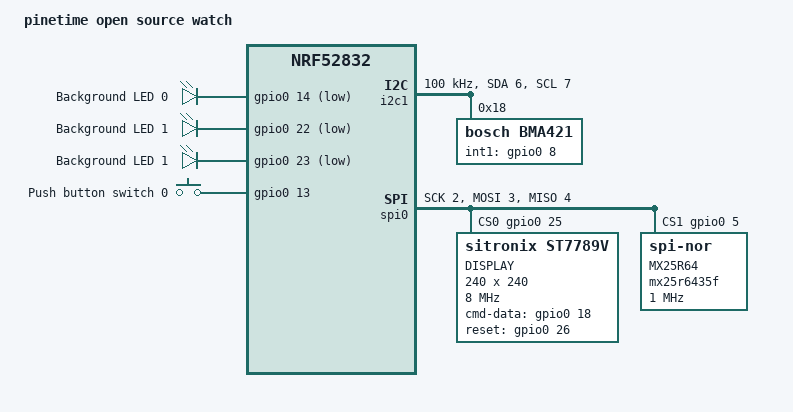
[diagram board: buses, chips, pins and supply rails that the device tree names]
/*
 * Copyright (c) 2018 Zelin <zelin@makerdiary.com>
 * Copyright (c) 2018 makerdiary.com.
 *
 * SPDX-License-Identifier: Apache-2.0

PO.23 LCD backlight 
#include <nordic/nrf52832_qfaa.dtsi>

 */

/dts-v1/;
#include <nordic/nrf52832_qfaa.dtsi>

/ {
	model = "pinetime open source watch";
	compatible = "nordic,nrf52832-qfaa",
		     "nordic,nrf52832";

	chosen {
		zephyr,sram = &sram0;
		zephyr,flash = &flash0;
		zephyr,code-partition = &slot0_partition;
	};

	leds {
		compatible = "gpio-leds";
		led0_green: led_0 {
			gpios = <&gpio0 14 GPIO_INT_ACTIVE_LOW>;
			label = "Background LED 0";
		};
		led1_red: led_1 {
			gpios = <&gpio0 22 GPIO_INT_ACTIVE_LOW>;
			label = "Background LED 1";
		};
		led2_blue: led_2 {
			gpios = <&gpio0 23 GPIO_INT_ACTIVE_LOW>;
			label = "Background LED 1";
		};
	};

	buttons {
		compatible = "gpio-keys";
		button0: button_0 {
			gpios = <&gpio0 13 0>;
			label = "Push button switch 0";
		};
	};

	/* These aliases are provided for compatibility with samples */
	aliases {
		sw0 = &button0;
		led0 = &led0_green;
		led1 = &led1_red;
		led2 = &led2_blue;
		led0-green = &led0_green;
		led1-red   = &led1_red;
		led2-blue  = &led2_blue;
	};

};

&gpiote {
	status = "okay";
};

&gpio0 {
	status = "okay";
};
/*
&i2c0 {
	status = "okay";
      }
*/
&i2c1 {
        compatible = "nordic,nrf-twi"; 
	status = "okay";
	sda-pin = <6>;
	scl-pin = <7>;
        clock-frequency = <100000>; 
        bma421@18 {
            compatible = "bosch,bma421"; 
            reg=<0x18>;
            label="BMA421";
            int1-gpios = <&gpio0 8 0>; 
        };
};


&spi0 {
        compatible = "nordic,nrf-spi"; 
	status = "okay";
        sck-pin = <2>;
        mosi-pin = <3>;
        miso-pin = <4>;
	cs-gpios = <&gpio0 25 0>,<&gpio0 5 0>;
	st7789v@0 {
		compatible = "sitronix,st7789v";
		label = "DISPLAY";
		spi-max-frequency = <8000000>;
		reg = <0>;
		cmd-data-gpios = <&gpio0 18 0>;
		reset-gpios = <&gpio0 26 0>;
		width = <240>;
		height = <240>;
		x-offset = <0>;
		y-offset = <0>;
                vcom = <0x19>;
		gctrl = <0x35>;
		vrhs = <0x12>;
		vdvs = <0x20>;
		mdac = <0x00>;
		gamma = <0x01>;
		colmod = <0x05>;
		lcm = <0x2c>;
		porch-param = [0c 0c 00 33 33];
		cmd2en-param = [5a 69 02 01];
		pwctrl1-param = [a4 a1];
                pvgam-param = [D0 04 0D 11 13 2B 3F 54 4C 18 0D 0B 1F 23];
		nvgam-param = [D0 04 0C 11 13 2C 3F 44 51 2F 1F 1F 20 23];
		ram-param = [00 F0];
		rgb-param = [CD 08 14];

        };

        mx25r64: mx25r6435f@1 {
		compatible = "jedec,spi-nor";
		reg = <1>;
		spi-max-frequency = <1000000>;
		label = "MX25R64";
		jedec-id = [0b 40 16];
		size = <67108864>;
		has-be32k;
	};

};



&flash0 {
	/*
	 * For more information, see:
	 * http://docs.zephyrproject.org/latest/guides/dts/index.html#flash-partitions
	 */
	partitions {
		compatible = "fixed-partitions";
		#address-cells = <1>;
		#size-cells = <1>;

		boot_partition: partition@0 {
			label = "mcuboot";
			reg = <0x00000000 0xc000>;
		};
		slot0_partition: partition@c000 {
			label = "image-0";
			reg = <0x0000C000 0x32000>;
		};
		slot1_partition: partition@3e000 {
			label = "image-1";
			reg = <0x0003E000 0x32000>;
		};
		scratch_partition: partition@70000 {
			label = "image-scratch";
			reg = <0x00070000 0xa000>;
		};
		storage_partition: partition@7a000 {
			label = "storage";
			reg = <0x0007a000 0x00006000>;
		};
	};
};
